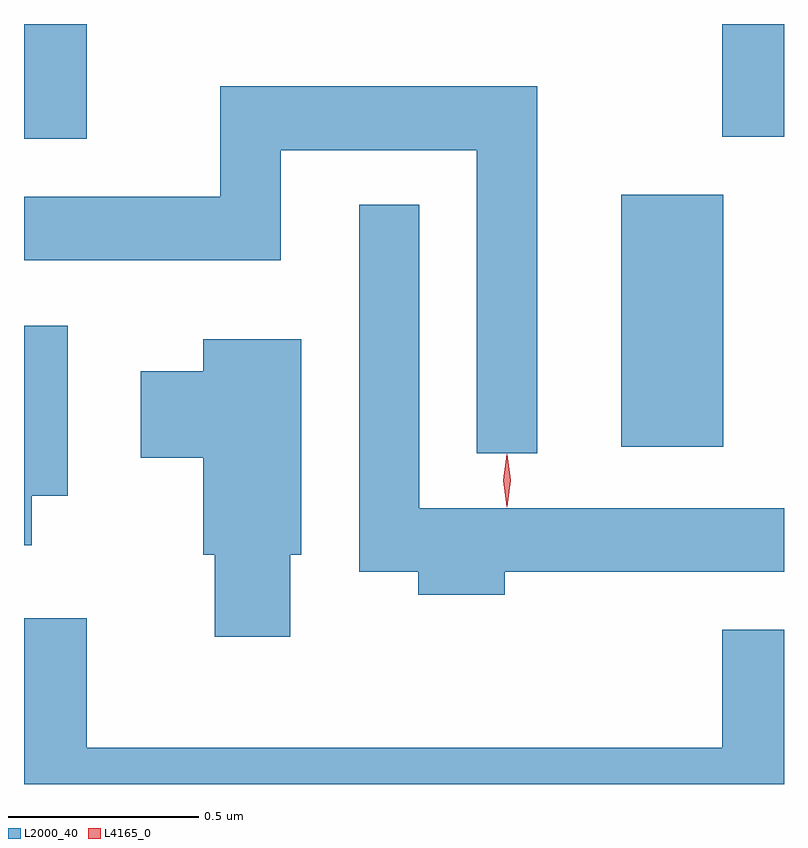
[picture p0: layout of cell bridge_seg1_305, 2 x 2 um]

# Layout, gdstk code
import gdstk
lib = gdstk.Library(unit=1e-6, precision=1e-09)
def R(c, l, rs):  # rectangles x0, y0, x1, y1
    for r in rs: c.add(gdstk.rectangle(r[:2], r[2:], *l))
def P(c, l, *ps):  # polygons
    for p in ps: c.add(gdstk.Polygon(p, *l))
L2000_40 = (2000, 40)
L4165_0 = (4165, 0)

bridge_seg1_305 = lib.new_cell('bridge_seg1_305')
R(bridge_seg1_305, L2000_40, [(848.326,882.876,848.594,883.539), (846.754,883.686,846.919,883.988), (848.591,883.691,848.754,883.988)])
P(bridge_seg1_305, L2000_40, [(848.104,883.824),(847.271,883.824),(847.271,883.534),(846.754,883.534),(846.754,883.366),(847.429,883.366),(847.429,883.656),(847.946,883.656),(847.946,882.858),(848.104,882.858)],
  [(848.019,882.546),(848.754,882.546),(848.754,882.714),(847.794,882.714),(847.794,883.513),(847.636,883.513),(847.636,882.546),(847.791,882.546),(847.791,882.486),(848.019,882.486)],
  [(846.774,882.746),(846.869,882.746),(846.869,883.194),(846.754,883.194),(846.754,882.616),(846.774,882.616)],
  [(847.454,882.591),(847.484,882.591),(847.484,883.159),(847.226,883.159),(847.226,883.074),(847.061,883.074),(847.061,882.846),(847.226,882.846),(847.226,882.591),(847.256,882.591),(847.256,882.376),(847.454,882.376)],
  [(848.754,882.394),(848.591,882.394),(848.591,882.084),(846.919,882.084),(846.919,882.424),(846.754,882.424),(846.754,881.988),(848.754,881.988)])
P(bridge_seg1_305, L4165_0, [(848.025,882.719),(848.024,882.72),(848.015,882.786),(848.024,882.852),(848.025,882.853),(848.025,882.852),(848.035,882.786),(848.025,882.72)],
  [(848.025,882.717),(848.025,882.717),(848.015,882.787),(848.025,882.856),(848.025,882.856),(848.026,882.856),(848.035,882.787),(848.026,882.717)])

lib.write_gds('bridge_seg1_305.gds')
